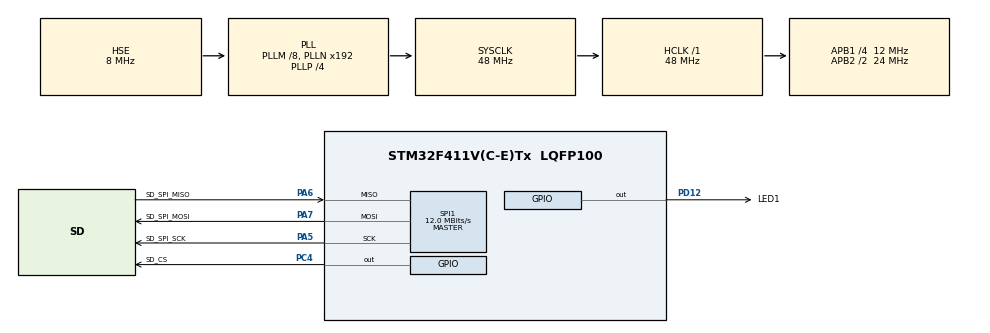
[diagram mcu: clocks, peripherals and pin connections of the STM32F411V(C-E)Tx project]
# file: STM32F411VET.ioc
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FREERTOS.Tasks01=defaultTask,0,128,StartDefaultTask,Default,NULL
Mcu.Family=STM32F4
Mcu.Name=STM32F411V(C-E)Tx
Mcu.Package=LQFP100
NVIC.PriorityGroup=NVIC_PRIORITYGROUP_4
NVIC.TIM1_UP_TIM10_IRQn=true\:0\:0\:false\:false\:true\:false\:false\:false
NVIC.TimeBase=TIM1_UP_TIM10_IRQn
NVIC.TimeBaseIP=TIM1
PA5.GPIO_Label=SD_SPI_SCK
PA5.Mode=Full_Duplex_Master
PA5.Signal=SPI1_SCK
PA6.GPIO_Label=SD_SPI_MISO
PA6.Mode=Full_Duplex_Master
PA6.Signal=SPI1_MISO
PA7.GPIO_Label=SD_SPI_MOSI
PA7.Mode=Full_Duplex_Master
PA7.Signal=SPI1_MOSI
PC4.GPIO_Label=SD_CS
PC4.Signal=GPIO_Output
PD12.GPIO_Label=LED1
PD12.Signal=GPIO_Output
PH0\ -\ OSC_IN.Mode=HSE-External-Oscillator
PH0\ -\ OSC_IN.Signal=RCC_OSC_IN
PH1\ -\ OSC_OUT.Mode=HSE-External-Oscillator
PH1\ -\ OSC_OUT.Signal=RCC_OSC_OUT
ProjectManager.HeapSize=0x200
ProjectManager.StackSize=0x400
ProjectManager.TargetToolchain=SW4STM32
RCC.48MHZClocksFreq_Value=24000000
RCC.AHBFreq_Value=48000000
RCC.APB1CLKDivider=RCC_HCLK_DIV4
RCC.APB1Freq_Value=12000000
RCC.APB1TimFreq_Value=24000000
RCC.APB2CLKDivider=RCC_HCLK_DIV2
RCC.APB2Freq_Value=24000000
RCC.APB2TimFreq_Value=48000000
RCC.CortexFreq_Value=48000000
RCC.HCLKFreq_Value=48000000
RCC.HSE_VALUE=8000000
RCC.HSI_VALUE=16000000
RCC.LSE_VALUE=32768
RCC.PLLI2SM=5
RCC.PLLI2SN=200
RCC.PLLM=8
RCC.PLLP=RCC_PLLP_DIV4
RCC.PLLQ=8
RCC.PLLSourceVirtual=RCC_PLLSOURCE_HSE
RCC.SYSCLKFreq_VALUE=48000000
RCC.SYSCLKSource=RCC_SYSCLKSOURCE_PLLCLK
RCC.VCOOutputFreq_Value=192000000
SPI1.CalculateBaudRate=12.0 MBits/s
SPI1.Direction=SPI_DIRECTION_2LINES
SPI1.Mode=SPI_MODE_MASTER
SPI1.VirtualType=VM_MASTER
VP_FREERTOS_VS_CMSIS_V1.Mode=CMSIS_V1
VP_SYS_VS_tim1.Mode=TIM1
board=STM32F411E-DISCO

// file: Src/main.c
/* USER CODE BEGIN Header */
/**
  ******************************************************************************
  * @file           : main.c
  * @brief          : Main program body
  ******************************************************************************
  * @attention
  *
  * <h2><center>&copy; Copyright (c) 2019 STMicroelectronics.
  * All rights reserved.</center></h2>
  *
  * This software component is licensed by ST under BSD 3-Clause license,
  * the "License"; You may not use this file except in compliance with the
  * License. You may obtain a copy of the License at:
  *                        opensource.org/licenses/BSD-3-Clause
  *
  ******************************************************************************
  */
/* USER CODE END Header */

#include "main.h"
#include "cmsis_os.h"

/* USER CODE BEGIN Includes */
#include <stdlib.h>
#include "LogData.h"
#include "Data.h"
#include "FlightPhase.h"
/* USER CODE END Includes */

SPI_HandleTypeDef hspi1;

osThreadId defaultTaskHandle;
/* USER CODE BEGIN PV */
/* Private variables ---------------------------------------------------------*/
// Controls that will perform actions
// Storing data
static osThreadId logDataTaskHandle;
// Special abort thread

/* USER CODE END PV */

void SystemClock_Config(void);
static void MX_GPIO_Init(void);
static void MX_SPI1_Init(void);
void StartDefaultTask(void const* argument);

/* USER CODE BEGIN PFP */
/* Private function prototypes -----------------------------------------------*/

/* USER CODE END PFP */

int main(void)
{

    /* MCU Configuration--------------------------------------------------------*/

    /* Reset of all peripherals, Initializes the Flash interface and the Systick. */
    HAL_Init();

    /* Configure the system clock */
    SystemClock_Config();

    /* Initialize all configured peripherals */
    MX_GPIO_Init();
    MX_SPI1_Init();
    /* USER CODE BEGIN 2 */
    // data primitive structs
    AccelGyroMagnetismData* accelGyroMagnetismData =
        malloc(sizeof(AccelGyroMagnetismData));
    BarometerData* barometerData =
        malloc(sizeof(BarometerData));
    CombustionChamberPressureData* combustionChamberPressureData =
        malloc(sizeof(CombustionChamberPressureData));
    GpsData* gpsData =
        malloc(sizeof(GpsData));
    OxidizerTankPressureData* oxidizerTankPressureData =
        malloc(sizeof(OxidizerTankPressureData));

    osMutexDef(ACCEL_GYRO_MAGNETISM_DATA_MUTEX);
    accelGyroMagnetismData->mutex_ = osMutexCreate(osMutex(ACCEL_GYRO_MAGNETISM_DATA_MUTEX));
    accelGyroMagnetismData->accelX_ = -1;
    accelGyroMagnetismData->accelY_ = -2;
    accelGyroMagnetismData->accelZ_ = -3;
    accelGyroMagnetismData->gyroX_ = -4;
    accelGyroMagnetismData->gyroY_ = -5;
    accelGyroMagnetismData->gyroZ_ = -6;
    accelGyroMagnetismData->magnetoX_ = -7;
    accelGyroMagnetismData->magnetoY_ = -8;
    accelGyroMagnetismData->magnetoZ_ = -9;

    osMutexDef(BAROMETER_DATA_MUTEX);
    barometerData->mutex_ = osMutexCreate(osMutex(BAROMETER_DATA_MUTEX));
    barometerData->pressure_ = -10;
    barometerData->temperature_ = -11;

    osMutexDef(COMBUSTION_CHAMBER_PRESSURE_DATA_MUTEX);
    combustionChamberPressureData->mutex_ = osMutexCreate(osMutex(COMBUSTION_CHAMBER_PRESSURE_DATA_MUTEX));
    combustionChamberPressureData->pressure_ = -12;

    osMutexDef(GPS_DATA_MUTEX);
    gpsData->mutex_ = osMutexCreate(osMutex(GPS_DATA_MUTEX));
    gpsData->altitude_ = -13;
    gpsData->epochTimeMsec_ = -14;
    gpsData->latitude_ = -15;
    gpsData->longitude_ = -16;

    osMutexDef(OXIDIZER_TANK_PRESSURE_DATA_MUTEX);
    oxidizerTankPressureData->mutex_ = osMutexCreate(osMutex(OXIDIZER_TANK_PRESSURE_DATA_MUTEX));
    oxidizerTankPressureData->pressure_ = -17;

    // data containers
    AllData* allData =
        malloc(sizeof(AllData));
    allData->accelGyroMagnetismData_ = accelGyroMagnetismData;
    allData->barometerData_ = barometerData;
    allData->combustionChamberPressureData_ = combustionChamberPressureData;
    allData->gpsData_ = gpsData;
    allData->oxidizerTankPressureData_ = oxidizerTankPressureData;

    ParachutesControlData* parachutesControlData =
        malloc(sizeof(ParachutesControlData));
    parachutesControlData->accelGyroMagnetismData_ = accelGyroMagnetismData;
    parachutesControlData->barometerData_ = barometerData;
    /* USER CODE END 2 */

    /* USER CODE BEGIN RTOS_MUTEX */
    osMutexDef(FLIGHT_PHASE_MUTEX);
    flightPhaseMutex = osMutexCreate(osMutex(FLIGHT_PHASE_MUTEX));
    /* USER CODE END RTOS_MUTEX */

    /* Create the thread(s) */
    /* definition and creation of defaultTask */
    osThreadDef(defaultTask, StartDefaultTask, osPriorityNormal, 0, 128);
    defaultTaskHandle = osThreadCreate(osThread(defaultTask), NULL);

    /* USER CODE BEGIN RTOS_THREADS */
    osThreadDef(
        logDataThread,
        logDataTask,
        osPriorityNormal,
        1,
        configMINIMAL_STACK_SIZE * 3
    );
    logDataTaskHandle =
        osThreadCreate(osThread(logDataThread), allData);
    /* USER CODE END RTOS_THREADS */

    /* Start scheduler */
    osKernelStart();

    /* We should never get here as control is now taken by the scheduler */

    /* Infinite loop */
    while (1)
    {

        /* USER CODE BEGIN 3 */

    }

    free(accelGyroMagnetismData);
    free(barometerData);
    free(combustionChamberPressureData);
    free(gpsData);
    free(oxidizerTankPressureData);
    free(allData);
    free(parachutesControlData);
    /* USER CODE END 3 */
}

void SystemClock_Config(void)
{
    RCC_OscInitTypeDef RCC_OscInitStruct = {0};
    RCC_ClkInitTypeDef RCC_ClkInitStruct = {0};

    /** Configure the main internal regulator output voltage
    */
    __HAL_RCC_PWR_CLK_ENABLE();
    __HAL_PWR_VOLTAGESCALING_CONFIG(PWR_REGULATOR_VOLTAGE_SCALE1);
    /** Initializes the CPU, AHB and APB busses clocks
    */
    RCC_OscInitStruct.OscillatorType = RCC_OSCILLATORTYPE_HSE;
    RCC_OscInitStruct.HSEState = RCC_HSE_ON;
    RCC_OscInitStruct.PLL.PLLState = RCC_PLL_ON;
    RCC_OscInitStruct.PLL.PLLSource = RCC_PLLSOURCE_HSE;
    RCC_OscInitStruct.PLL.PLLM = 8;
    RCC_OscInitStruct.PLL.PLLN = 192;
    RCC_OscInitStruct.PLL.PLLP = RCC_PLLP_DIV4;
    RCC_OscInitStruct.PLL.PLLQ = 8;

    if (HAL_RCC_OscConfig(&RCC_OscInitStruct) != HAL_OK)
    {
        Error_Handler();
    }

    /** Initializes the CPU, AHB and APB busses clocks
    */
    RCC_ClkInitStruct.ClockType = RCC_CLOCKTYPE_HCLK | RCC_CLOCKTYPE_SYSCLK
                                  | RCC_CLOCKTYPE_PCLK1 | RCC_CLOCKTYPE_PCLK2;
    RCC_ClkInitStruct.SYSCLKSource = RCC_SYSCLKSOURCE_PLLCLK;
    RCC_ClkInitStruct.AHBCLKDivider = RCC_SYSCLK_DIV1;
    RCC_ClkInitStruct.APB1CLKDivider = RCC_HCLK_DIV4;
    RCC_ClkInitStruct.APB2CLKDivider = RCC_HCLK_DIV2;

    if (HAL_RCC_ClockConfig(&RCC_ClkInitStruct, FLASH_LATENCY_1) != HAL_OK)
    {
        Error_Handler();
    }
}

static void MX_SPI1_Init(void)
{

    /* SPI1 parameter configuration*/
    hspi1.Instance = SPI1;
    hspi1.Init.Mode = SPI_MODE_MASTER;
    hspi1.Init.Direction = SPI_DIRECTION_2LINES;
    hspi1.Init.DataSize = SPI_DATASIZE_8BIT;
    hspi1.Init.CLKPolarity = SPI_POLARITY_LOW;
    hspi1.Init.CLKPhase = SPI_PHASE_1EDGE;
    hspi1.Init.NSS = SPI_NSS_SOFT;
    hspi1.Init.BaudRatePrescaler = SPI_BAUDRATEPRESCALER_2;
    hspi1.Init.FirstBit = SPI_FIRSTBIT_MSB;
    hspi1.Init.TIMode = SPI_TIMODE_DISABLE;
    hspi1.Init.CRCCalculation = SPI_CRCCALCULATION_DISABLE;
    hspi1.Init.CRCPolynomial = 10;

    if (HAL_SPI_Init(&hspi1) != HAL_OK)
    {
        Error_Handler();
    }

}

static void MX_GPIO_Init(void)
{
    GPIO_InitTypeDef GPIO_InitStruct = {0};

    /* GPIO Ports Clock Enable */
    __HAL_RCC_GPIOE_CLK_ENABLE();
    __HAL_RCC_GPIOC_CLK_ENABLE();
    __HAL_RCC_GPIOH_CLK_ENABLE();
    __HAL_RCC_GPIOA_CLK_ENABLE();
    __HAL_RCC_GPIOB_CLK_ENABLE();
    __HAL_RCC_GPIOD_CLK_ENABLE();

    /*Configure GPIO pin Output Level */
    HAL_GPIO_WritePin(SD_CS_GPIO_Port, SD_CS_Pin, GPIO_PIN_RESET);

    /*Configure GPIO pin Output Level */
    HAL_GPIO_WritePin(LED1_GPIO_Port, LED1_Pin, GPIO_PIN_RESET);

    /*Configure GPIO pins : PE2 PE3 PE4 PE5
                             PE6 PE7 PE8 PE9
                             PE10 PE11 PE12 PE13
                             PE14 PE15 PE0 PE1 */
    GPIO_InitStruct.Pin = GPIO_PIN_2 | GPIO_PIN_3 | GPIO_PIN_4 | GPIO_PIN_5
                          | GPIO_PIN_6 | GPIO_PIN_7 | GPIO_PIN_8 | GPIO_PIN_9
                          | GPIO_PIN_10 | GPIO_PIN_11 | GPIO_PIN_12 | GPIO_PIN_13
                          | GPIO_PIN_14 | GPIO_PIN_15 | GPIO_PIN_0 | GPIO_PIN_1;
    GPIO_InitStruct.Mode = GPIO_MODE_ANALOG;
    GPIO_InitStruct.Pull = GPIO_NOPULL;
    HAL_GPIO_Init(GPIOE, &GPIO_InitStruct);

    /*Configure GPIO pins : PC13 PC14 PC15 PC0
                             PC1 PC2 PC3 PC5
                             PC6 PC7 PC8 PC9
                             PC10 PC11 PC12 */
    GPIO_InitStruct.Pin = GPIO_PIN_13 | GPIO_PIN_14 | GPIO_PIN_15 | GPIO_PIN_0
                          | GPIO_PIN_1 | GPIO_PIN_2 | GPIO_PIN_3 | GPIO_PIN_5
                          | GPIO_PIN_6 | GPIO_PIN_7 | GPIO_PIN_8 | GPIO_PIN_9
                          | GPIO_PIN_10 | GPIO_PIN_11 | GPIO_PIN_12;
    GPIO_InitStruct.Mode = GPIO_MODE_ANALOG;
    GPIO_InitStruct.Pull = GPIO_NOPULL;
    HAL_GPIO_Init(GPIOC, &GPIO_InitStruct);

    /*Configure GPIO pins : PA0 PA1 PA2 PA3
                             PA4 PA8 PA9 PA10
                             PA11 PA12 PA13 PA14
                             PA15 */
    GPIO_InitStruct.Pin = GPIO_PIN_0 | GPIO_PIN_1 | GPIO_PIN_2 | GPIO_PIN_3
                          | GPIO_PIN_4 | GPIO_PIN_8 | GPIO_PIN_9 | GPIO_PIN_10
                          | GPIO_PIN_11 | GPIO_PIN_12 | GPIO_PIN_13 | GPIO_PIN_14
                          | GPIO_PIN_15;
    GPIO_InitStruct.Mode = GPIO_MODE_ANALOG;
    GPIO_InitStruct.Pull = GPIO_NOPULL;
    HAL_GPIO_Init(GPIOA, &GPIO_InitStruct);

    /*Configure GPIO pin : SD_CS_Pin */
    GPIO_InitStruct.Pin = SD_CS_Pin;
    GPIO_InitStruct.Mode = GPIO_MODE_OUTPUT_PP;
    GPIO_InitStruct.Pull = GPIO_NOPULL;
    GPIO_InitStruct.Speed = GPIO_SPEED_FREQ_LOW;
    HAL_GPIO_Init(SD_CS_GPIO_Port, &GPIO_InitStruct);

    /*Configure GPIO pins : PB0 PB1 PB2 PB10
                             PB12 PB13 PB14 PB15
                             PB3 PB4 PB5 PB6
                             PB7 PB8 PB9 */
    GPIO_InitStruct.Pin = GPIO_PIN_0 | GPIO_PIN_1 | GPIO_PIN_2 | GPIO_PIN_10
                          | GPIO_PIN_12 | GPIO_PIN_13 | GPIO_PIN_14 | GPIO_PIN_15
                          | GPIO_PIN_3 | GPIO_PIN_4 | GPIO_PIN_5 | GPIO_PIN_6
                          | GPIO_PIN_7 | GPIO_PIN_8 | GPIO_PIN_9;
    GPIO_InitStruct.Mode = GPIO_MODE_ANALOG;
    GPIO_InitStruct.Pull = GPIO_NOPULL;
    HAL_GPIO_Init(GPIOB, &GPIO_InitStruct);

    /*Configure GPIO pins : PD8 PD9 PD10 PD11
                             PD13 PD14 PD15 PD0
                             PD1 PD2 PD3 PD4
                             PD5 PD6 PD7 */
    GPIO_InitStruct.Pin = GPIO_PIN_8 | GPIO_PIN_9 | GPIO_PIN_10 | GPIO_PIN_11
                          | GPIO_PIN_13 | GPIO_PIN_14 | GPIO_PIN_15 | GPIO_PIN_0
                          | GPIO_PIN_1 | GPIO_PIN_2 | GPIO_PIN_3 | GPIO_PIN_4
                          | GPIO_PIN_5 | GPIO_PIN_6 | GPIO_PIN_7;
    GPIO_InitStruct.Mode = GPIO_MODE_ANALOG;
    GPIO_InitStruct.Pull = GPIO_NOPULL;
    HAL_GPIO_Init(GPIOD, &GPIO_InitStruct);

    /*Configure GPIO pin : LED1_Pin */
    GPIO_InitStruct.Pin = LED1_Pin;
    GPIO_InitStruct.Mode = GPIO_MODE_OUTPUT_PP;
    GPIO_InitStruct.Pull = GPIO_NOPULL;
    GPIO_InitStruct.Speed = GPIO_SPEED_FREQ_LOW;
    HAL_GPIO_Init(LED1_GPIO_Port, &GPIO_InitStruct);

}

void StartDefaultTask(void const* argument)
{

    for (;;)
    {
        osDelay(1);
    }
}

void HAL_TIM_PeriodElapsedCallback(TIM_HandleTypeDef* htim)
{
    if (htim->Instance == TIM1)
    {
        HAL_IncTick();
    }

}

void Error_Handler(void)
{
    while (1)
    {
    }
}

/************************ (C) COPYRIGHT STMicroelectronics *****END OF FILE****/
